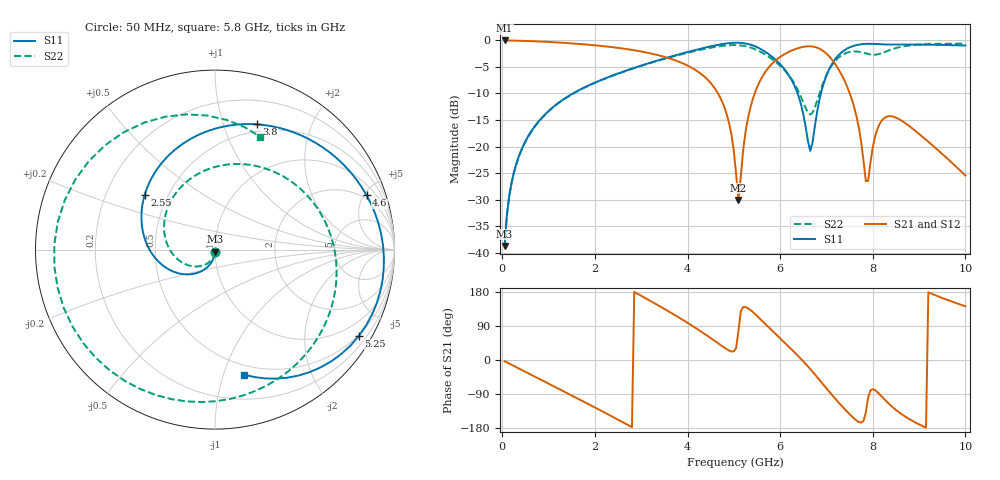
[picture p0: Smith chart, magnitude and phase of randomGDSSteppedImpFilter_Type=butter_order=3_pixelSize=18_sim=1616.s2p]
! freq	dB(S11)	phase(S11)	dB(S12)	phase(S12)
!  dB(S21)	phase(S21)	dB(S22)	phase(S22)
!S-par simulation data
#  GHz  S  DB  R 50
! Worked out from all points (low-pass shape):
!   200 points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, 50 MHz to 10 GHz, reference 50 ohm
!   highest |S21| = -0.02 dB at 50 MHz (marker M1); lowest = -30.0 dB at 5.1 GHz (marker M2)
!   |S21| within 3 dB of the highest: start of sweep to 3.463 GHz; 6.018 GHz to 7.058 GHz (1.039 GHz wide, 15.9 % of centre)
!   lowest |S11| = -38.7 dB at 50 MHz (marker M3), VSWR 1.02, Z = 50.1 - j1.16 ohm
!   |S11| at or under -10 dB: start of sweep to 1.527 GHz; 6.376 GHz to 6.881 GHz (505.3 MHz wide, 7.62 % of centre)
!   |S22| runs from -38.8 to -0.6 dB; largest |S21 - S12| = 0
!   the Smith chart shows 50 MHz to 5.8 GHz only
!   S11 on the Smith chart (normalised r, x): 50 MHz: 1.00, -0.02; 2.55 GHz: 0.37, +0.30; 3.8 GHz: 0.43, +1.30; 4.6 GHz: 1.67, +5.21; 5.25 GHz: 0.47, -3.55; 5.8 GHz: 0.41, -1.17
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0.05  -38.71 -84.5  -0.02 -3.2  -0.02 -3.2  -38.76 -85.7
0.5  -19.00 -114.9  -0.11 -31.3  -0.11 -31.3  -19.08 -127.3
1.75  -8.97 -177.5  -0.74 -109.4  -0.74 -109.4  -9.00 137.1
2.55  -6.08 142.1  -1.47 -160.7  -1.47 -160.7  -6.12 74.9
3.4  -3.67 95.3  -2.87 141.9  -2.87 141.9  -3.74 6.8
3.8  -2.67 71.6  -3.98 113.1  -3.98 113.1  -2.78 -27.0
4.6  -0.94 19.8  -9.18 49.3  -9.18 49.3  -1.23 -106.3
5.05  -0.45 -14.3  -25.32 31.9  -25.32 31.9  -0.89 -166.3
5.1  -0.45 -18.4  -30.04 77.2  -30.04 77.2  -0.92 -174.0
5.25  -0.59 -31.0  -17.39 139.9  -17.39 139.9  -1.10 161.9
5.55  -1.49 -56.4  -7.91 110.6  -7.91 110.6  -2.04 110.5
5.8  -2.91 -76.9  -4.64 80.7  -4.64 80.7  -3.38 68.1
6.3  -8.36 -121.7  -1.74 21.5  -1.74 21.5  -8.04 -2.5
6.7  -19.19 89.5  -1.16 -30.9  -1.16 -30.9  -13.61 7.6
7.25  -2.88 -24.7  -5.31 -110.6  -5.31 -110.6  -3.34 -30.7
7.6  -1.01 -59.0  -12.64 -154.7  -12.64 -154.7  -2.09 -93.5
7.85  -0.66 -78.3  -26.51 -138.5  -26.51 -138.5  -2.45 -156.3
7.95  -0.65 -85.0  -23.03 -79.9  -23.03 -79.9  -2.66 172.5
8.15  -0.73 -96.7  -15.71 -90.7  -15.71 -90.7  -2.53 107.9
8.35  -0.79 -106.7  -14.28 -115.7  -14.28 -115.7  -1.88 56.3
8.8  -0.79 -128.0  -16.22 -156.7  -16.22 -156.7  -0.95 -9.2
10  -0.97 173.7  -25.46 141.7  -25.46 141.7  -0.63 -79.7
